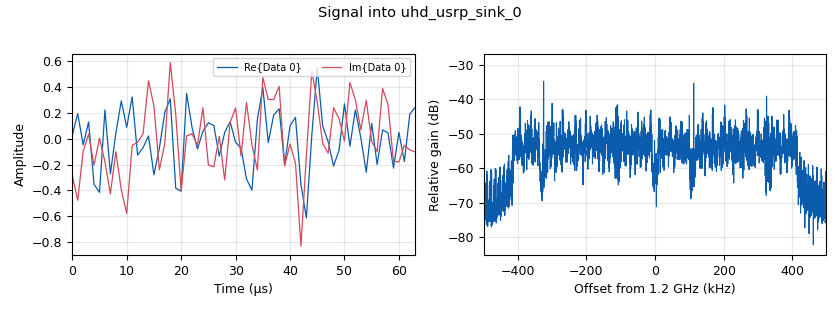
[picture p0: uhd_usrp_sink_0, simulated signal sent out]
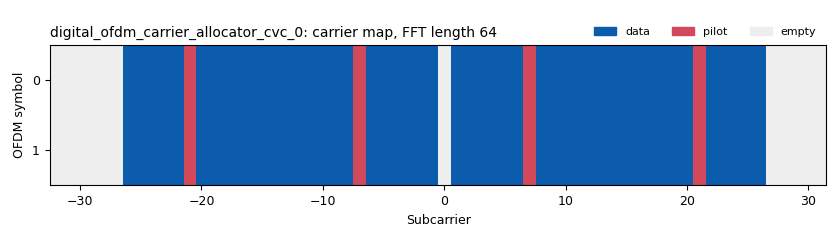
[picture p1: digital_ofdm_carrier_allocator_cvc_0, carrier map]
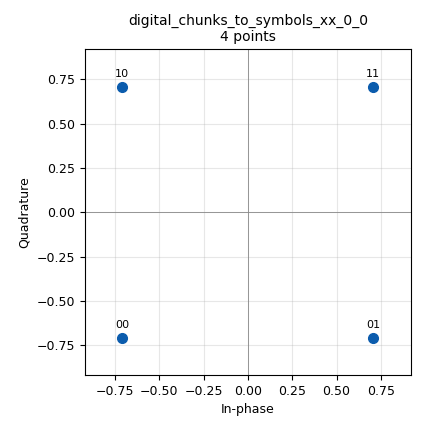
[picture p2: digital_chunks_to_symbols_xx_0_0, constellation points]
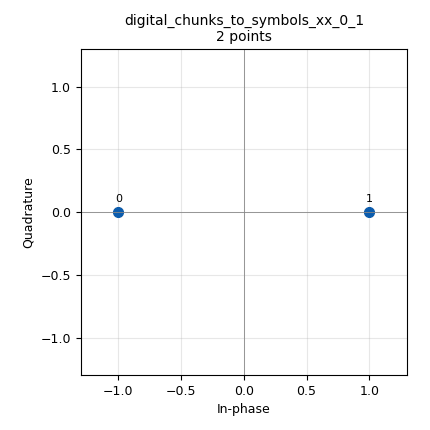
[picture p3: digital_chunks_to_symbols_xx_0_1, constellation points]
<?xml version='1.0' encoding='utf-8'?>
<?grc format='1' created='3.7.13'?>
<flow_graph>
<block>
<key>options</key>
<param><key>id</key><value>tx_ofdm</value></param>
<param><key>generate_options</key><value>no_gui</value></param>
<param><key>run_options</key><value>run</value></param>
</block>
<block>
<key>variable</key>
<param><key>id</key><value>fc</value></param>
<param><key>value</key><value>1.2e9</value></param>
</block>
<block>
<key>variable</key>
<param><key>id</key><value>fft_len</value></param>
<param><key>value</key><value>64</value></param>
</block>
<block>
<key>variable</key>
<param><key>id</key><value>header_equalizer</value></param>
<param><key>value</key><value>digital.ofdm_equalizer_simpledfe(fft_len, header_mod.base(), occupied_carriers, pilot_carriers, pilot_symbols, 0, 1)</value></param>
</block>
<block>
<key>variable</key>
<param><key>id</key><value>header_formatter</value></param>
<param><key>value</key><value>digital.packet_header_ofdm(occupied_carriers, n_syms=1, len_tag_key=packet_length_tag_key, frame_len_tag_key=length_tag_key, bits_per_header_sym=header_mod.bits_per_symbol(), bits_per_payload_sym=payload_mod.bits_per_symbol(), scramble_header=False)</value></param>
</block>
<block>
<key>variable</key>
<param><key>id</key><value>header_mod</value></param>
<param><key>value</key><value>digital.constellation_bpsk()</value></param>
</block>
<block>
<key>variable</key>
<param><key>id</key><value>ip_address</value></param>
<param><key>value</key><value>'addr=192.168.10.2'</value></param>
</block>
<block>
<key>variable</key>
<param><key>id</key><value>length_tag_key</value></param>
<param><key>value</key><value>"frame_len"</value></param>
</block>
<block>
<key>variable</key>
<param><key>id</key><value>occupied_carriers</value></param>
<param><key>value</key><value>(range(-26, -21) + range(-20, -7) + range(-6, 0) + range(1, 7) + range(8, 21) + range(22, 27),)</value></param>
</block>
<block>
<key>variable</key>
<param><key>id</key><value>packet_len</value></param>
<param><key>value</key><value>50</value></param>
</block>
<block>
<key>variable</key>
<param><key>id</key><value>packet_length_tag_key</value></param>
<param><key>value</key><value>"packet_len"</value></param>
</block>
<block>
<key>variable</key>
<param><key>id</key><value>payload_equalizer</value></param>
<param><key>value</key><value>digital.ofdm_equalizer_simpledfe(fft_len, payload_mod.base(), occupied_carriers, pilot_carriers, pilot_symbols, 0, 1)</value></param>
</block>
<block>
<key>variable</key>
<param><key>id</key><value>payload_mod</value></param>
<param><key>value</key><value>digital.constellation_qpsk()</value></param>
</block>
<block>
<key>variable</key>
<param><key>id</key><value>pilot_carriers</value></param>
<param><key>value</key><value>((-21, -7, 7, 21,),)</value></param>
</block>
<block>
<key>variable</key>
<param><key>id</key><value>pilot_symbols</value></param>
<param><key>value</key><value>((1, 1, 1, -1,),)</value></param>
</block>
<block>
<key>variable</key>
<param><key>id</key><value>samp_rate</value></param>
<param><key>value</key><value>1000000</value></param>
</block>
<block>
<key>variable</key>
<param><key>id</key><value>sync_word1</value></param>
<param><key>value</key><value>[0., 0., 0., 0., 0., 0., 0., 1.41421356, 0., -1.41421356, 0., 1.41421356, 0., -1.41421356, 0., -1.41421356, 0., -1.41421356, 0., 1.41421356, 0., -1.41421356, 0., 1.41421356, 0., -1.41421356, 0., -1.41421356, 0., -1.41421356, 0., -1.41421356, 0., 1.41421356, 0., -1.41421356, 0., 1.41421356, 0., 1.41421356, 0., 1.41421356, 0., -1.41421356, 0., 1.41421356, 0., 1.41421356, 0., 1.41421356, 0., -1.41421356, 0., 1.41421356, 0., 1.41421356, 0., 1.41421356, 0., 0., 0., 0., 0., 0.]</value></param>
</block>
<block>
<key>variable</key>
<param><key>id</key><value>sync_word2</value></param>
<param><key>value</key><value>[0, 0, 0, 0, 0, 0, -1, -1, -1, -1, 1, 1, -1, -1, -1, 1, -1, 1, 1, 1, 1, 1, -1, -1, -1, -1, -1, 1, -1, -1, 1, -1, 0, 1, -1, 1, 1, 1, -1, 1, 1, 1, -1, 1, 1, 1, 1, -1, 1, -1, -1, -1, 1, -1, 1, -1, -1, -1, -1, 0, 0, 0, 0, 0] </value></param>
</block>
<block>
<key>variable</key>
<param><key>id</key><value>tx_gain</value></param>
<param><key>value</key><value>6</value></param>
</block>
<block>
<key>variable_constellation</key>
<param><key>id</key><value>variable_constellation_0</value></param>
<param><key>const_points</key><value>[-1-1j, -1+1j, 1+1j, 1-1j]</value></param>
<param><key>type</key><value>calcdist</value></param>
<param><key>dims</key><value>1</value></param>
<param><key>rot_sym</key><value>4</value></param>
<param><key>precision</key><value>8</value></param>
<param><key>sym_map</key><value>[0, 1, 3, 2]</value></param>
</block>
<block>
<key>analog_random_source_x</key>
<param><key>id</key><value>analog_random_source_x_0</value></param>
<param><key>max</key><value>255</value></param>
<param><key>min</key><value>0</value></param>
<param><key>num_samps</key><value>800*packet_len</value></param>
<param><key>type</key><value>byte</value></param>
<param><key>repeat</key><value>False</value></param>
</block>
<block>
<key>blocks_message_strobe</key>
<param><key>id</key><value>blocks_message_strobe_0</value></param>
<param><key>_enabled</key><value>False</value></param>
<param><key>msg</key><value>pmt.cons(pmt.PMT_NIL, pmt.make_u8vector(packet_len, 255))</value></param>
<param><key>period</key><value>300</value></param>
</block>
<block>
<key>blocks_multiply_const_vxx</key>
<param><key>id</key><value>blocks_multiply_const_vxx_1</value></param>
<param><key>const</key><value>0.05</value></param>
<param><key>type</key><value>complex</value></param>
</block>
<block>
<key>blocks_pdu_to_tagged_stream</key>
<param><key>id</key><value>blocks_pdu_to_tagged_stream_0</value></param>
<param><key>_enabled</key><value>False</value></param>
<param><key>type</key><value>byte</value></param>
<param><key>tag</key><value>packet_len</value></param>
</block>
<block>
<key>blocks_repack_bits_bb</key>
<param><key>id</key><value>blocks_repack_bits_bb_0_0</value></param>
<param><key>k</key><value>8</value></param>
<param><key>l</key><value>payload_mod.bits_per_symbol()</value></param>
<param><key>endianness</key><value>gr.GR_LSB_FIRST</value></param>
<param><key>len_tag_key</key><value>packet_length_tag_key</value></param>
</block>
<block>
<key>blocks_stream_to_tagged_stream</key>
<param><key>id</key><value>blocks_stream_to_tagged_stream_0</value></param>
<param><key>len_tag_key</key><value>packet_length_tag_key</value></param>
<param><key>packet_len</key><value>packet_len</value></param>
<param><key>type</key><value>byte</value></param>
</block>
<block>
<key>blocks_tag_gate</key>
<param><key>id</key><value>blocks_tag_gate_0</value></param>
<param><key>type</key><value>complex</value></param>
<param><key>propagate_tags</key><value>True</value></param>
</block>
<block>
<key>blocks_tagged_stream_mux</key>
<param><key>id</key><value>blocks_tagged_stream_mux_0</value></param>
<param><key>type</key><value>complex</value></param>
<param><key>lengthtagname</key><value>packet_length_tag_key</value></param>
<param><key>ninputs</key><value>2</value></param>
</block>
<block>
<key>digital_chunks_to_symbols_xx</key>
<param><key>id</key><value>digital_chunks_to_symbols_xx_0_0</value></param>
<param><key>dimension</key><value>1</value></param>
<param><key>in_type</key><value>byte</value></param>
<param><key>out_type</key><value>complex</value></param>
<param><key>symbol_table</key><value>payload_mod.points()</value></param>
</block>
<block>
<key>digital_chunks_to_symbols_xx</key>
<param><key>id</key><value>digital_chunks_to_symbols_xx_0_1</value></param>
<param><key>dimension</key><value>1</value></param>
<param><key>in_type</key><value>byte</value></param>
<param><key>out_type</key><value>complex</value></param>
<param><key>symbol_table</key><value>header_mod.points()</value></param>
</block>
<block>
<key>digital_crc32_bb</key>
<param><key>id</key><value>digital_crc32_bb_0</value></param>
<param><key>lengthtagname</key><value>packet_length_tag_key</value></param>
<param><key>check</key><value>False</value></param>
<param><key>packed</key><value>True</value></param>
</block>
<block>
<key>digital_ofdm_carrier_allocator_cvc</key>
<param><key>id</key><value>digital_ofdm_carrier_allocator_cvc_0</value></param>
<param><key>fft_len</key><value>fft_len</value></param>
<param><key>len_tag_key</key><value>packet_length_tag_key</value></param>
<param><key>maxoutbuf</key><value>100000</value></param>
<param><key>occupied_carriers</key><value>occupied_carriers</value></param>
<param><key>pilot_carriers</key><value>pilot_carriers</value></param>
<param><key>pilot_symbols</key><value>pilot_symbols</value></param>
<param><key>sync_words</key><value>(sync_word1,sync_word2)</value></param>
</block>
<block>
<key>digital_ofdm_cyclic_prefixer</key>
<param><key>id</key><value>digital_ofdm_cyclic_prefixer_0</value></param>
<param><key>cp_len</key><value>fft_len/4</value></param>
<param><key>input_size</key><value>fft_len</value></param>
<param><key>tagname</key><value>packet_length_tag_key</value></param>
</block>
<block>
<key>digital_packet_headergenerator_bb</key>
<param><key>id</key><value>digital_packet_headergenerator_bb_0</value></param>
<param><key>header_formatter</key><value>header_formatter.formatter()</value></param>
<param><key>len_tag_key</key><value>"packet_len"</value></param>
</block>
<block>
<key>fft_vxx</key>
<param><key>id</key><value>fft_vxx_0_0</value></param>
<param><key>fft_size</key><value>fft_len</value></param>
<param><key>forward</key><value>False</value></param>
<param><key>type</key><value>complex</value></param>
<param><key>shift</key><value>True</value></param>
<param><key>window</key><value>()</value></param>
</block>
<block>
<key>virtual_sink</key>
<param><key>id</key><value>header_bits</value></param>
<param><key>stream_id</key><value>Header Bits</value></param>
</block>
<block>
<key>import</key>
<param><key>id</key><value>import_0</value></param>
<param><key>import</key><value>import numpy</value></param>
</block>
<block>
<key>import</key>
<param><key>id</key><value>import_0_0</value></param>
<param><key>import</key><value>import random</value></param>
</block>
<block>
<key>import</key>
<param><key>id</key><value>import_1</value></param>
<param><key>import</key><value>from gnuradio.digital.utils import tagged_streams</value></param>
</block>
<block>
<key>uhd_usrp_sink</key>
<param><key>id</key><value>uhd_usrp_sink_0</value></param>
<param><key>ant0</key><value>TX/RX</value></param>
<param><key>center_freq0</key><value>fc</value></param>
<param><key>norm_gain0</key><value>False</value></param>
<param><key>gain0</key><value>tx_gain</value></param>
<param><key>clock_rate</key><value>0.0</value></param>
<param><key>dev_addr</key><value>ip_address</value></param>
<param><key>dev_args</key><value>""</value></param>
<param><key>type</key><value>fc32</value></param>
<param><key>samp_rate</key><value>samp_rate</value></param>
<param><key>hide_cmd_port</key><value>False</value></param>
<param><key>hide_lo_controls</key><value>True</value></param>
<param><key>sync</key><value></value></param>
<param><key>len_tag_name</key><value>packet_length_tag_key</value></param>
</block>
<block>
<key>virtual_sink</key>
<param><key>id</key><value>virtual_sink_0_0</value></param>
<param><key>stream_id</key><value>Payload Bits</value></param>
</block>
<block>
<key>virtual_sink</key>
<param><key>id</key><value>virtual_sink_0_0_0</value></param>
<param><key>stream_id</key><value>Pre-OFDM</value></param>
</block>
<block>
<key>virtual_sink</key>
<param><key>id</key><value>virtual_sink_0_1</value></param>
<param><key>stream_id</key><value>Time Domain</value></param>
</block>
<block>
<key>virtual_source</key>
<param><key>id</key><value>virtual_source_0_0_0</value></param>
<param><key>stream_id</key><value>Pre-OFDM</value></param>
</block>
<block>
<key>virtual_source</key>
<param><key>id</key><value>virtual_source_0_0_0_0</value></param>
<param><key>stream_id</key><value>Time Domain</value></param>
</block>
<block>
<key>virtual_source</key>
<param><key>id</key><value>virtual_source_0_0_1</value></param>
<param><key>stream_id</key><value>Payload Bits</value></param>
</block>
<block>
<key>virtual_source</key>
<param><key>id</key><value>virtual_source_0_1</value></param>
<param><key>stream_id</key><value>Header Bits</value></param>
</block>
<connection><source_block_id>analog_random_source_x_0</source_block_id><sink_block_id>blocks_stream_to_tagged_stream_0</sink_block_id><source_key>0</source_key><sink_key>0</sink_key></connection>
<connection><source_block_id>blocks_message_strobe_0</source_block_id><sink_block_id>blocks_pdu_to_tagged_stream_0</sink_block_id><source_key>strobe</source_key><sink_key>pdus</sink_key></connection>
<connection><source_block_id>blocks_multiply_const_vxx_1</source_block_id><sink_block_id>uhd_usrp_sink_0</sink_block_id><source_key>0</source_key><sink_key>0</sink_key></connection>
<connection><source_block_id>blocks_pdu_to_tagged_stream_0</source_block_id><sink_block_id>digital_crc32_bb_0</sink_block_id><source_key>0</source_key><sink_key>0</sink_key></connection>
<connection><source_block_id>blocks_repack_bits_bb_0_0</source_block_id><sink_block_id>virtual_sink_0_0</sink_block_id><source_key>0</source_key><sink_key>0</sink_key></connection>
<connection><source_block_id>blocks_stream_to_tagged_stream_0</source_block_id><sink_block_id>digital_crc32_bb_0</sink_block_id><source_key>0</source_key><sink_key>0</sink_key></connection>
<connection><source_block_id>blocks_tag_gate_0</source_block_id><sink_block_id>blocks_multiply_const_vxx_1</sink_block_id><source_key>0</source_key><sink_key>0</sink_key></connection>
<connection><source_block_id>blocks_tagged_stream_mux_0</source_block_id><sink_block_id>virtual_sink_0_0_0</sink_block_id><source_key>0</source_key><sink_key>0</sink_key></connection>
<connection><source_block_id>digital_chunks_to_symbols_xx_0_0</source_block_id><sink_block_id>blocks_tagged_stream_mux_0</sink_block_id><source_key>0</source_key><sink_key>1</sink_key></connection>
<connection><source_block_id>digital_chunks_to_symbols_xx_0_1</source_block_id><sink_block_id>blocks_tagged_stream_mux_0</sink_block_id><source_key>0</source_key><sink_key>0</sink_key></connection>
<connection><source_block_id>digital_crc32_bb_0</source_block_id><sink_block_id>blocks_repack_bits_bb_0_0</sink_block_id><source_key>0</source_key><sink_key>0</sink_key></connection>
<connection><source_block_id>digital_crc32_bb_0</source_block_id><sink_block_id>digital_packet_headergenerator_bb_0</sink_block_id><source_key>0</source_key><sink_key>0</sink_key></connection>
<connection><source_block_id>digital_ofdm_carrier_allocator_cvc_0</source_block_id><sink_block_id>fft_vxx_0_0</sink_block_id><source_key>0</source_key><sink_key>0</sink_key></connection>
<connection><source_block_id>digital_ofdm_cyclic_prefixer_0</source_block_id><sink_block_id>virtual_sink_0_1</sink_block_id><source_key>0</source_key><sink_key>0</sink_key></connection>
<connection><source_block_id>digital_packet_headergenerator_bb_0</source_block_id><sink_block_id>header_bits</sink_block_id><source_key>0</source_key><sink_key>0</sink_key></connection>
<connection><source_block_id>fft_vxx_0_0</source_block_id><sink_block_id>digital_ofdm_cyclic_prefixer_0</sink_block_id><source_key>0</source_key><sink_key>0</sink_key></connection>
<connection><source_block_id>virtual_source_0_0_0</source_block_id><sink_block_id>digital_ofdm_carrier_allocator_cvc_0</sink_block_id><source_key>0</source_key><sink_key>0</sink_key></connection>
<connection><source_block_id>virtual_source_0_0_0_0</source_block_id><sink_block_id>blocks_tag_gate_0</sink_block_id><source_key>0</source_key><sink_key>0</sink_key></connection>
<connection><source_block_id>virtual_source_0_0_1</source_block_id><sink_block_id>digital_chunks_to_symbols_xx_0_0</sink_block_id><source_key>0</source_key><sink_key>0</sink_key></connection>
<connection><source_block_id>virtual_source_0_1</source_block_id><sink_block_id>digital_chunks_to_symbols_xx_0_1</sink_block_id><source_key>0</source_key><sink_key>0</sink_key></connection>
</flow_graph>
